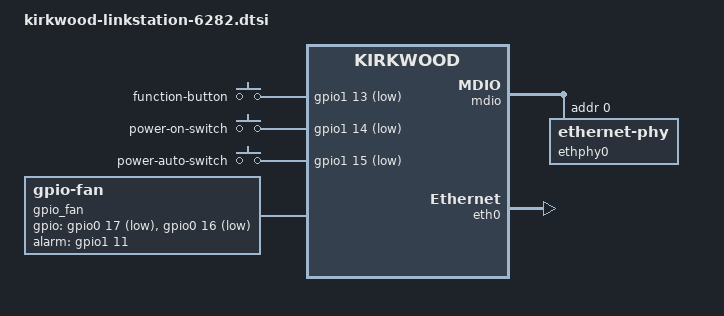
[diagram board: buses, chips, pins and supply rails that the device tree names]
/*
 * Device Tree common file for kirkwood-6282 based Buffalo Linkstation
 *
 * Copyright (C) 2015, 2016
 * Roger Shimizu <rogershimizu@gmail.com>
 *
 * This file is dual-licensed: you can use it either under the terms
 * of the GPL or the X11 license, at your option. Note that this dual
 * licensing only applies to this file, and not this project as a
 * whole.
 *
 *  a) This file is free software; you can redistribute it and/or
 *     modify it under the terms of the GNU General Public License as
 *     published by the Free Software Foundation; either version 2 of the
 *     License, or (at your option) any later version.
 *
 *     This file is distributed in the hope that it will be useful
 *     but WITHOUT ANY WARRANTY; without even the implied warranty of
 *     MERCHANTABILITY or FITNESS FOR A PARTICULAR PURPOSE.  See the
 *     GNU General Public License for more details.
 *
 * Or, alternatively
 *
 *  b) Permission is hereby granted, free of charge, to any person
 *     obtaining a copy of this software and associated documentation
 *     files (the "Software"), to deal in the Software without
 *     restriction, including without limitation the rights to use
 *     copy, modify, merge, publish, distribute, sublicense, and/or
 *     sell copies of the Software, and to permit persons to whom the
 *     Software is furnished to do so, subject to the following
 *     conditions:
 *
 *     The above copyright notice and this permission notice shall be
 *     included in all copies or substantial portions of the Software.
 *
 *     THE SOFTWARE IS PROVIDED , WITHOUT WARRANTY OF ANY KIND
 *     EXPRESS OR IMPLIED, INCLUDING BUT NOT LIMITED TO THE WARRANTIES
 *     OF MERCHANTABILITY, FITNESS FOR A PARTICULAR PURPOSE AND
 *     NONINFRINGEMENT. IN NO EVENT SHALL THE AUTHORS OR COPYRIGHT
 *     HOLDERS BE LIABLE FOR ANY CLAIM, DAMAGES OR OTHER LIABILITY
 *     WHETHER IN AN ACTION OF CONTRACT, TORT OR OTHERWISE, ARISING
 *     FROM, OUT OF OR IN CONNECTION WITH THE SOFTWARE OR THE USE OR
 *     OTHER DEALINGS IN THE SOFTWARE.
 */

#include "kirkwood.dtsi"
#include "kirkwood-6282.dtsi"
#include "kirkwood-linkstation.dtsi"

/ {
	ocp@f1000000 {
		pinctrl: pin-controller@10000 {
			pmx_power_hdd0: pmx-power-hdd0 {
				marvell,pins = "mpp8";
				marvell,function = "gpio";
			};
			pmx_usb_vbus: pmx-usb-vbus {
				marvell,pins = "mpp12";
				marvell,function = "gpio";
			};
			pmx_fan_high: pmx-fan-high {
				marvell,pins = "mpp16";
				marvell,function = "gpio";
			};
			pmx_fan_low: pmx-fan-low {
				marvell,pins = "mpp17";
				marvell,function = "gpio";
			};
			pmx_led_alarm: pmx-led-alarm {
				marvell,pins = "mpp36";
				marvell,function = "gpio";
			};
			pmx_led_function_red: pmx-led-function-red {
				marvell,pins = "mpp37";
				marvell,function = "gpio";
			};
			pmx_led_info: pmx-led-info {
				marvell,pins = "mpp38";
				marvell,function = "gpio";
			};
			pmx_led_function_blue: pmx-led-function-blue {
				marvell,pins = "mpp39";
				marvell,function = "gpio";
			};
			pmx_led_power: pmx-led-power {
				marvell,pins = "mpp40";
				marvell,function = "gpio";
			};
			pmx_fan_lock: pmx-fan-lock {
				marvell,pins = "mpp43";
				marvell,function = "gpio";
			};
			pmx_button_function: pmx-button-function {
				marvell,pins = "mpp45";
				marvell,function = "gpio";
			};
			pmx_power_switch: pmx-power-switch {
				marvell,pins = "mpp46";
				marvell,function = "gpio";
			};
			pmx_power_auto_switch: pmx-power-auto-switch {
				marvell,pins = "mpp47";
				marvell,function = "gpio";
			};
		};
	};

	gpio_keys {
		function-button {
			gpios = <&gpio1 13 GPIO_ACTIVE_LOW>;
		};

		power-on-switch {
			gpios = <&gpio1 14 GPIO_ACTIVE_LOW>;
		};

		power-auto-switch {
			gpios = <&gpio1 15 GPIO_ACTIVE_LOW>;
		};
	};

	gpio_leds {
		red-alarm-led {
			label = "linkstation:red:alarm";
			gpios = <&gpio1 4 GPIO_ACTIVE_HIGH>;
		};

		red-function-led {
			label = "linkstation:red:function";
			gpios = <&gpio1 5 GPIO_ACTIVE_HIGH>;
		};

		amber-info-led {
			label = "linkstation:amber:info";
			gpios = <&gpio1 6 GPIO_ACTIVE_HIGH>;
		};

		blue-function-led {
			label = "linkstation:blue:function";
			gpios = <&gpio1 7 GPIO_ACTIVE_HIGH>;
		};

		blue-power-led {
			label = "linkstation:blue:power";
			gpios = <&gpio1 8 GPIO_ACTIVE_LOW>;
			default-state = "keep";
		};
	};

	gpio_fan {
		compatible = "gpio-fan";
		pinctrl-0 = <&pmx_fan_low &pmx_fan_high &pmx_fan_lock>;
		pinctrl-names = "default";

		gpios = <&gpio0 17 GPIO_ACTIVE_LOW
			 &gpio0 16 GPIO_ACTIVE_LOW>;

		gpio-fan,speed-map = <0 3
				1500 2
				3250 1
				5000 0>;

		alarm-gpios = <&gpio1 11 GPIO_ACTIVE_HIGH>;
	};

	regulators {
		usb_power: regulator@1 {
			gpio = <&gpio0 12 GPIO_ACTIVE_HIGH>;
		};

		hdd_power0: regulator@2 {
			gpio = <&gpio0 8 GPIO_ACTIVE_HIGH>;
		};
	};
};

&mdio {
	status = "okay";

	ethphy0: ethernet-phy@0 {
		device_type = "ethernet-phy";
		reg = <0>;
	};
};

&eth0 {
	status = "okay";

	ethernet0-port@0 {
		phy-handle = <&ethphy0>;
	};
};
